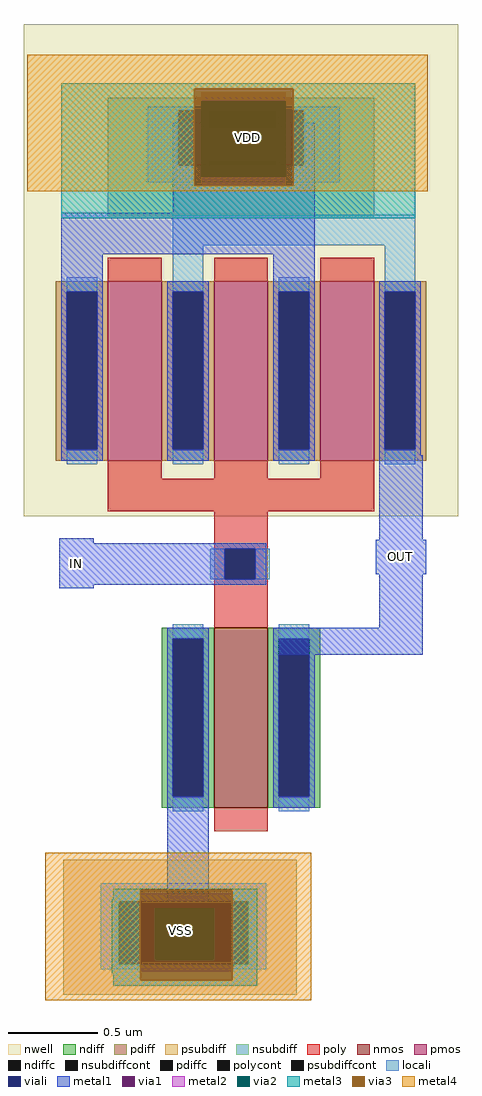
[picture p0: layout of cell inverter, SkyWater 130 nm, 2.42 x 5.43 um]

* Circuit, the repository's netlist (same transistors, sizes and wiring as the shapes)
** sch_path:
*+ /mnt/c/Users/DRC/Desktop/elec/4th/4th_fall/elec451/final_project/design/xschem/inverter.sch
.subckt inverter IN VDD OUT VSS
*.PININFO IN:I VDD:B OUT:O VSS:B
XM2 OUT IN VDD VDD sky130_fd_pr__pfet_01v8 L=0.3 W=3 nf=3 ad='int((nf+1)/2) * W/nf * 0.29' as='int((nf+2)/2) * W/nf * 0.29'
+ pd='2*int((nf+1)/2) * (W/nf + 0.29)' ps='2*int((nf+2)/2) * (W/nf + 0.29)' nrd='0.29 / W' nrs='0.29 / W'
+ sa=0 sb=0 sd=0 mult=1 m=1
XM1 OUT IN VSS VSS sky130_fd_pr__nfet_01v8 L=0.3 W=1 nf=1 ad='int((nf+1)/2) * W/nf * 0.29' as='int((nf+2)/2) * W/nf * 0.29'
+ pd='2*int((nf+1)/2) * (W/nf + 0.29)' ps='2*int((nf+2)/2) * (W/nf + 0.29)' nrd='0.29 / W' nrs='0.29 / W'
+ sa=0 sb=0 sd=0 mult=1 m=1
.ends
.end

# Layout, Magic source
magic
tech sky130B
<< nwell >>
rect 0 121 242 274
<< psubdiff >>
rect 22 -214 152 -191
rect 22 -249 53 -214
rect 125 -249 152 -214
rect 22 -266 152 -249
<< nsubdiff >>
rect 47 226 195 233
rect 47 195 86 226
rect 156 195 195 226
rect 47 167 195 195
<< psubdiffcont >>
rect 53 -249 125 -214
<< nsubdiffcont >>
rect 86 195 156 226
<< poly >>
rect 47 3 195 21
rect 106 -18 136 3
rect 106 -35 112 -18
rect 129 -35 136 -18
rect 106 -56 136 -35
<< polycont >>
rect 112 -35 129 -18
<< locali >>
rect 69 226 176 228
rect 69 195 86 226
rect 156 195 176 226
rect 69 186 176 195
rect 83 151 218 168
rect 83 129 100 151
rect 201 129 218 151
rect 104 -35 112 -18
rect 129 -35 137 -18
rect 43 -214 135 -204
rect 43 -249 53 -214
rect 125 -249 135 -214
rect 43 -252 135 -249
<< viali >>
rect 96 198 144 216
rect 112 -35 129 -18
rect 71 -245 110 -218
<< metal1 >>
rect 98 219 103 226
rect 83 216 103 219
rect 141 219 146 226
rect 141 216 162 219
rect 83 198 96 216
rect 144 198 162 216
rect 83 189 103 198
rect 141 189 162 198
rect 83 169 162 189
rect 21 146 162 169
rect 21 128 44 146
rect 139 128 162 146
rect 20 -15 39 -12
rect 198 -13 222 34
rect 20 -18 135 -15
rect 20 -35 112 -18
rect 129 -35 135 -18
rect 196 -32 224 -13
rect 20 -38 135 -35
rect 20 -40 39 -38
rect 198 -62 222 -32
rect 139 -77 222 -62
rect 80 -215 103 -160
rect 60 -248 65 -215
rect 116 -248 121 -215
<< via1 >>
rect 103 216 141 226
rect 103 198 141 216
rect 103 189 141 198
rect 65 -218 116 -215
rect 65 -245 71 -218
rect 71 -245 110 -218
rect 110 -245 116 -218
rect 65 -248 116 -245
<< metal2 >>
rect 99 231 146 236
rect 99 184 146 189
rect 65 -213 116 -210
rect 65 -215 117 -213
rect 116 -248 117 -215
rect 65 -252 117 -248
rect 65 -253 116 -252
<< via2 >>
rect 99 226 146 231
rect 99 189 103 226
rect 103 189 141 226
rect 141 189 146 226
rect 73 -247 106 -218
<< metal3 >>
rect 21 238 218 241
rect 21 184 95 238
rect 150 184 218 238
rect 21 166 218 184
rect 50 -208 130 -207
rect 50 -213 65 -208
rect 49 -254 65 -213
rect 50 -258 65 -254
rect 116 -258 130 -208
rect 50 -261 130 -258
<< via3 >>
rect 95 231 150 238
rect 95 189 99 231
rect 99 189 146 231
rect 146 189 150 231
rect 95 184 150 189
rect 65 -218 116 -208
rect 65 -247 73 -218
rect 73 -247 106 -218
rect 106 -247 116 -218
rect 65 -258 116 -247
<< metal4 >>
rect 2 238 225 257
rect 2 184 95 238
rect 150 184 225 238
rect 2 181 225 184
rect 12 -208 160 -187
rect 12 -258 65 -208
rect 116 -258 160 -208
rect 12 -269 160 -258
use sky130_fd_pr__nfet_01v8_CH4TXP  sky130_fd_pr__nfet_01v8_CH4TXP_0
transform 1 0 121 0 1 -112
box -44 -63 44 63
use sky130_fd_pr__pfet_01v8_PCXB2D  sky130_fd_pr__pfet_01v8_PCXB2D_0
transform 1 0 121 0 1 81
box -121 -81 121 81
<< labels >>
flabel metal1 20 -40 39 -12 1 FreeSerif 160 0 0 0 IN
port 1 n
flabel metal1 196 -32 224 -13 1 FreeSerif 160 0 0 0 OUT
port 2 n
flabel metal4 66 184 183 238 1 FreeSerif 240 0 0 0 VDD
port 3 n
flabel metal4 45 -258 130 -203 1 FreeSerif 240 0 0 0 VSS
port 4 n
<< end >>

# cell sky130_fd_pr__nfet_01v8_CH4TXP: kit device sky130_fd_pr__nfet_01v8, w 1 l 0.3 m 1 nf 1 diffcov 100 polycov 100 guard 0 glc 1 grc 1 gtc 1 gbc 1 tbcov 100 rlcov 100 topc 0 botc 0 poverlap 0 doverlap 1 lmin 0.15 wmin 0.42 compatible {sky130_fd_pr__nfet_01v8 sky130_fd_pr__nfet_01v8_lvt sky130_fd_bs_flash__special_sonosfet_star sky130_fd_pr__nfet_g5v0d10v5 sky130_fd_pr__nfet_05v0_nvt sky130_fd_pr__nfet_03v3_nvt} full_metal 1 viasrc 100 viadrn 100 viagate 0 viagb 0 viagr 0 viagl 0 viagt 0

# cell sky130_fd_pr__pfet_01v8_PCXB2D: kit device sky130_fd_pr__pfet_01v8, w 1 l 0.3 m 1 nf 3 diffcov 100 polycov 100 guard 0 glc 1 grc 1 gtc 1 gbc 1 tbcov 100 rlcov 100 topc 0 botc 0 poverlap 0 doverlap 1 lmin 0.15 wmin 0.42 compatible {sky130_fd_pr__pfet_01v8 sky130_fd_pr__pfet_01v8_lvt sky130_fd_pr__pfet_01v8_hvt sky130_fd_pr__pfet_g5v0d10v5} full_metal 1 viasrc 100 viadrn 100 viagate 0 viagb 0 viagr 0 viagl 0 viagt 0
